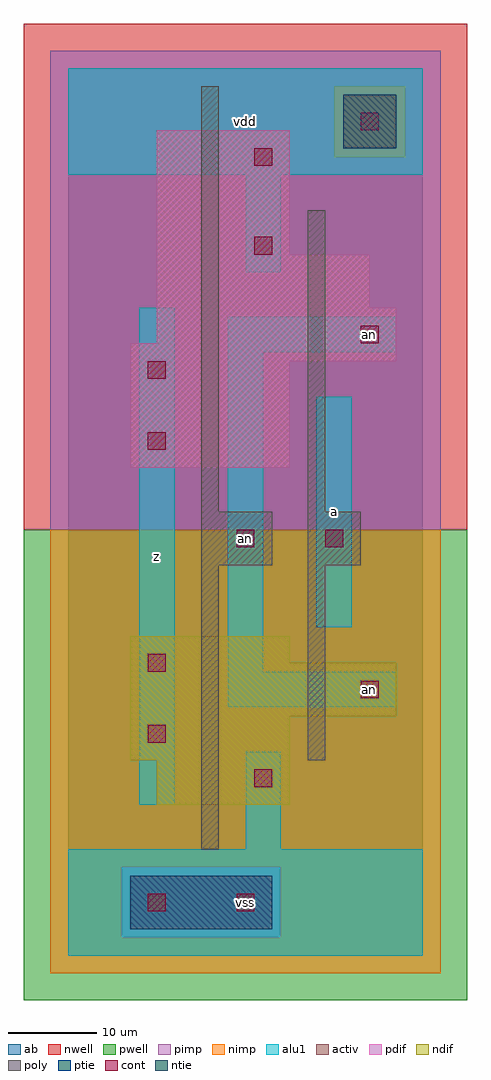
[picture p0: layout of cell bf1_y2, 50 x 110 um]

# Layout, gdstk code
import gdstk
lib = gdstk.Library(unit=1e-6, precision=1e-09)
def R(c, l, rs):  # rectangles x0, y0, x1, y1
    for r in rs: c.add(gdstk.rectangle(r[:2], r[2:], *l))
ndif = (3, 0)
pdif = (4, 0)
ntie = (5, 0)
ptie = (6, 0)
cont = (25, 0)
pwell = (41, 0)
nwell = (42, 0)
activ = (43, 0)
pimp = (44, 0)
nimp = (45, 0)
poly = (46, 0)
alu1 = (49, 0)
ab = (63, 0)

bf1_y2 = lib.new_cell('bf1_y2')
R(bf1_y2, ndif, [(10,17,25,22), (7,22,25,27), (7,27,37,33), (7,33,25,36)])
R(bf1_y2, pdif, [(7,55,25,67), (7,67,37,69), (10,69,37,73), (10,73,34,79), (10,79,25,93)])
R(bf1_y2, ntie, [(31,91,37,97)])
R(bf1_y2, ptie, [(7,3,23,9)])
R(bf1_y2, cont, [(9,5,11,7), (19,5,21,7), (21,19,23,21), (9,24,11,26), (33,29,35,31), (9,32,11,34), (19,46,21,48), (29,46,31,48), (9,57,11,59), (9,65,11,67), (33,69,35,71), (21,79,23,81), (21,89,23,91), (33,93,35,95)])
R(bf1_y2, pwell, [(-5,-5,45,48)])
R(bf1_y2, nwell, [(-5,48,45,105)])
R(bf1_y2, activ, [(7,3,23,9), (10,17,25,22), (7,22,25,27), (7,27,37,33), (7,33,25,36), (7,55,25,67), (7,67,37,69), (10,69,37,73), (10,73,34,79), (10,79,25,93), (31,91,37,97)])
R(bf1_y2, pimp, [(6,2,24,10), (-2,48,42,90), (-2,90,30,98), (38,90,42,98), (-2,98,42,102)])
R(bf1_y2, nimp, [(-2,-2,42,2), (-2,2,6,10), (24,2,42,10), (-2,10,42,48), (30,90,38,98)])
R(bf1_y2, poly, [(15,12,17,44), (27,22,29,44), (15,44,23,50), (27,44,33,50), (15,50,17,98), (27,50,29,84)])
R(bf1_y2, alu1, [(0,0,40,12), (20,12,24,23), (8,17,12,73), (18,28,37,32), (18,32,22,68), (28,37,32,63), (18,68,37,72), (20,77,24,88), (0,88,40,100)])
R(bf1_y2, ab, [(0,0,40,100)])
bf1_y2.add(gdstk.Label('an', (20,47), layer=49, texttype=0))
bf1_y2.add(gdstk.Label('an', (34,30), layer=49, texttype=0))
bf1_y2.add(gdstk.Label('an', (34,70), layer=49, texttype=0))
bf1_y2.add(gdstk.Label('vss', (20,6), layer=49, texttype=0))
bf1_y2.add(gdstk.Label('z', (10,45), layer=49, texttype=0))
bf1_y2.add(gdstk.Label('vdd', (20,94), layer=49, texttype=0))
bf1_y2.add(gdstk.Label('a', (30,50), layer=49, texttype=0))

lib.write_gds('bf1_y2.gds')
